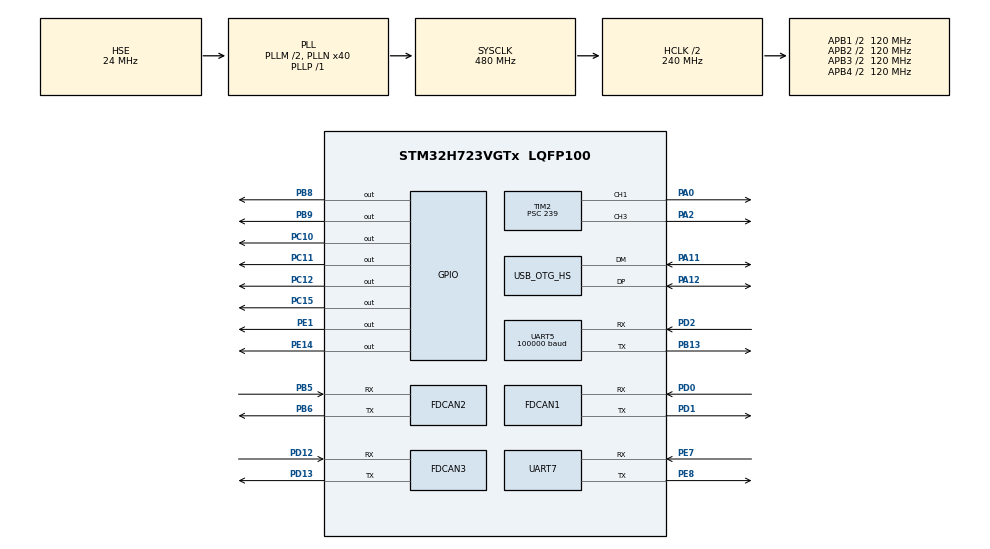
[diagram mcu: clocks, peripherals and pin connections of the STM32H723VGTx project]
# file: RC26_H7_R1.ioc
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CORTEX_M7.default_mode_Activation=1
Dma.Request0=UART5_RX
Dma.Request1=UART7_RX
Dma.UART5_RX.0.Direction=DMA_PERIPH_TO_MEMORY
Dma.UART5_RX.0.EventEnable=DISABLE
Dma.UART5_RX.0.FIFOMode=DMA_FIFOMODE_DISABLE
Dma.UART5_RX.0.Instance=DMA1_Stream2
Dma.UART5_RX.0.MemDataAlignment=DMA_MDATAALIGN_BYTE
Dma.UART5_RX.0.MemInc=DMA_MINC_ENABLE
Dma.UART5_RX.0.Mode=DMA_CIRCULAR
Dma.UART5_RX.0.PeriphDataAlignment=DMA_PDATAALIGN_BYTE
Dma.UART5_RX.0.PeriphInc=DMA_PINC_DISABLE
Dma.UART5_RX.0.Polarity=HAL_DMAMUX_REQ_GEN_RISING
Dma.UART5_RX.0.Priority=DMA_PRIORITY_VERY_HIGH
Dma.UART5_RX.0.RequestNumber=1
Dma.UART5_RX.0.SignalID=NONE
Dma.UART5_RX.0.SyncEnable=DISABLE
Dma.UART5_RX.0.SyncPolarity=HAL_DMAMUX_SYNC_NO_EVENT
Dma.UART5_RX.0.SyncRequestNumber=1
Dma.UART5_RX.0.SyncSignalID=NONE
Dma.UART7_RX.1.Direction=DMA_PERIPH_TO_MEMORY
Dma.UART7_RX.1.EventEnable=DISABLE
Dma.UART7_RX.1.FIFOMode=DMA_FIFOMODE_DISABLE
Dma.UART7_RX.1.Instance=DMA1_Stream3
Dma.UART7_RX.1.MemDataAlignment=DMA_MDATAALIGN_BYTE
Dma.UART7_RX.1.MemInc=DMA_MINC_ENABLE
Dma.UART7_RX.1.Mode=DMA_NORMAL
Dma.UART7_RX.1.PeriphDataAlignment=DMA_PDATAALIGN_BYTE
Dma.UART7_RX.1.PeriphInc=DMA_PINC_DISABLE
Dma.UART7_RX.1.Polarity=HAL_DMAMUX_REQ_GEN_RISING
Dma.UART7_RX.1.Priority=DMA_PRIORITY_LOW
Dma.UART7_RX.1.RequestNumber=1
Dma.UART7_RX.1.SignalID=NONE
Dma.UART7_RX.1.SyncEnable=DISABLE
Dma.UART7_RX.1.SyncPolarity=HAL_DMAMUX_SYNC_NO_EVENT
Dma.UART7_RX.1.SyncRequestNumber=1
Dma.UART7_RX.1.SyncSignalID=NONE
FDCAN1.AutoRetransmission=ENABLE
FDCAN1.CalculateBaudRateNominal=1000000
FDCAN1.CalculateTimeBitNominal=1000
FDCAN1.CalculateTimeQuantumNominal=25.0
FDCAN1.DataPrescaler=3
FDCAN1.DataSyncJumpWidth=10
FDCAN1.DataTimeSeg1=29
FDCAN1.DataTimeSeg2=10
FDCAN1.FrameFormat=FDCAN_FRAME_CLASSIC
FDCAN1.NominalPrescaler=3
FDCAN1.NominalSyncJumpWidth=10
FDCAN1.NominalTimeSeg1=29
FDCAN1.NominalTimeSeg2=10
FDCAN1.RxFifo0ElmtsNbr=16
FDCAN1.StdFiltersNbr=1
FDCAN1.TxBuffersNbr=0
FDCAN1.TxFifoQueueElmtsNbr=4
FDCAN2.AutoRetransmission=ENABLE
FDCAN2.CalculateBaudRateNominal=1000000
FDCAN2.CalculateTimeBitNominal=1000
FDCAN2.CalculateTimeQuantumNominal=25.0
FDCAN2.DataPrescaler=3
FDCAN2.DataSyncJumpWidth=10
FDCAN2.DataTimeSeg1=29
FDCAN2.DataTimeSeg2=10
FDCAN2.MessageRAMOffset=853
FDCAN2.NominalPrescaler=3
FDCAN2.NominalSyncJumpWidth=10
FDCAN2.NominalTimeSeg1=29
FDCAN2.NominalTimeSeg2=10
FDCAN2.RxFifo0ElmtsNbr=16
FDCAN2.StdFiltersNbr=1
FDCAN2.TxFifoQueueElmtsNbr=4
FDCAN3.AutoRetransmission=ENABLE
FDCAN3.CalculateBaudRateNominal=1000000
FDCAN3.CalculateTimeBitNominal=1000
FDCAN3.CalculateTimeQuantumNominal=25.0
FDCAN3.DataPrescaler=3
FDCAN3.DataSyncJumpWidth=10
FDCAN3.DataTimeSeg1=29
FDCAN3.DataTimeSeg2=10
FDCAN3.MessageRAMOffset=1706
FDCAN3.NominalPrescaler=3
FDCAN3.NominalSyncJumpWidth=10
FDCAN3.NominalTimeSeg1=29
FDCAN3.NominalTimeSeg2=10
FDCAN3.RxFifo0ElmtsNbr=16
FDCAN3.StdFiltersNbr=1
FDCAN3.TxFifoQueueElmtsNbr=4
FREERTOS.Tasks01=defaultTask,24,128,StartDefaultTask,Default,NULL,Dynamic,NULL,NULL;CanTask,48,128,Can_Task,As weak,NULL,Dynamic,NULL,NULL;MotionTask,40,128,Motion_Task,As weak,NULL,Dynamic,NULL,NULL
Mcu.Family=STM32H7
Mcu.Name=STM32H723VGTx
Mcu.Package=LQFP100
NVIC.DMA1_Stream2_IRQn=true\:5\:0\:false\:false\:true\:true\:false\:true\:true
NVIC.DMA1_Stream3_IRQn=true\:5\:0\:false\:false\:true\:true\:false\:true\:true
NVIC.FDCAN1_IT0_IRQn=true\:5\:0\:false\:false\:true\:true\:true\:true\:true
NVIC.FDCAN2_IT0_IRQn=true\:5\:0\:false\:false\:true\:true\:true\:true\:true
NVIC.FDCAN3_IT0_IRQn=true\:5\:0\:false\:false\:true\:true\:true\:true\:true
NVIC.OTG_HS_IRQn=true\:5\:0\:false\:false\:true\:true\:false\:true\:true
NVIC.PriorityGroup=NVIC_PRIORITYGROUP_4
NVIC.TIM4_IRQn=true\:5\:0\:false\:false\:true\:true\:true\:true\:true
NVIC.TIM8_UP_TIM13_IRQn=true\:15\:0\:false\:false\:true\:false\:false\:true\:true
NVIC.TimeBase=TIM8_UP_TIM13_IRQn
NVIC.TimeBaseIP=TIM8
NVIC.UART5_IRQn=true\:5\:0\:false\:false\:true\:true\:true\:true\:true
NVIC.UART7_IRQn=true\:5\:0\:false\:false\:true\:true\:true\:true\:true
PA0.Signal=S_TIM2_CH1_ETR
PA11.Mode=Device_Only_FS
PA11.Signal=USB_OTG_HS_DM
PA12.Mode=Device_Only_FS
PA12.Signal=USB_OTG_HS_DP
PA13(JTMS/SWDIO).Mode=Serial_Wire
PA13(JTMS/SWDIO).Signal=DEBUG_JTMS-SWDIO
PA14(JTCK/SWCLK).Mode=Serial_Wire
PA14(JTCK/SWCLK).Signal=DEBUG_JTCK-SWCLK
PA2.Signal=S_TIM2_CH3
PB13.Mode=Asynchronous
PB13.Signal=UART5_TX
PB5.Mode=FDCAN_Activate
PB5.Signal=FDCAN2_RX
PB6.Mode=FDCAN_Activate
PB6.Signal=FDCAN2_TX
PB8.GPIO_PuPd=GPIO_PULLDOWN
PB8.Signal=GPIO_Output
PB9.GPIO_PuPd=GPIO_PULLDOWN
PB9.Signal=GPIO_Output
PC10.GPIO_PuPd=GPIO_PULLDOWN
PC10.Signal=GPIO_Output
PC11.GPIO_PuPd=GPIO_PULLDOWN
PC11.Signal=GPIO_Output
PC12.GPIO_PuPd=GPIO_PULLDOWN
PC12.Signal=GPIO_Output
PC15-OSC32_OUT.GPIO_PuPd=GPIO_PULLUP
PC15-OSC32_OUT.PinState=GPIO_PIN_SET
PC15-OSC32_OUT.Signal=GPIO_Output
PD0.Mode=FDCAN_Activate
PD0.Signal=FDCAN1_RX
PD1.Mode=FDCAN_Activate
PD1.Signal=FDCAN1_TX
PD12.Mode=FDCAN_Activate
PD12.Signal=FDCAN3_RX
PD13.Mode=FDCAN_Activate
PD13.Signal=FDCAN3_TX
PD2.Mode=Asynchronous
PD2.Signal=UART5_RX
PE1.GPIO_PuPd=GPIO_PULLDOWN
PE1.Signal=GPIO_Output
PE14.GPIO_PuPd=GPIO_PULLDOWN
PE14.Signal=GPIO_Output
PE7.Mode=Asynchronous
PE7.Signal=UART7_RX
PE8.Mode=Asynchronous
PE8.Signal=UART7_TX
PH0-OSC_IN.Mode=HSE-External-Oscillator
PH0-OSC_IN.Signal=RCC_OSC_IN
PH1-OSC_OUT.Mode=HSE-External-Oscillator
PH1-OSC_OUT.Signal=RCC_OSC_OUT
ProjectManager.HeapSize=0x200
ProjectManager.StackSize=0x400
ProjectManager.TargetToolchain=MDK-ARM V5.32
RCC.ADCFreq_Value=48375000
RCC.APB1Freq_Value=120000000
RCC.APB2Freq_Value=120000000
RCC.APB3Freq_Value=120000000
RCC.APB4Freq_Value=120000000
RCC.CortexFreq_Value=480000000
RCC.D1PPRE=RCC_APB3_DIV2
RCC.D2PPRE1=RCC_APB1_DIV2
RCC.D2PPRE2=RCC_APB2_DIV2
RCC.D3PPRE=RCC_APB4_DIV2
RCC.DIVM1=2
RCC.DIVN1=40
RCC.DIVP1=1
RCC.DIVQ1=4
RCC.HCLKFreq_Value=240000000
RCC.HPRE=RCC_HCLK_DIV2
RCC.HSE_VALUE=24000000
RCC.PLL2FRACN=0
RCC.PLL3FRACN=0
RCC.PLLFRACN=0
RCC.PLLSourceVirtual=RCC_PLLSOURCE_HSE
RCC.SYSCLKFreq_VALUE=480000000
RCC.SYSCLKSource=RCC_SYSCLKSOURCE_PLLCLK
RCC.USBCLockSelection=RCC_USBCLKSOURCE_HSI48
RCC.USBFreq_Value=48000000
SH.S_TIM2_CH1_ETR.0=TIM2_CH1,PWM Generation1 CH1
SH.S_TIM2_CH3.0=TIM2_CH3,PWM Generation3 CH3
TIM2.AutoReloadPreload=TIM_AUTORELOAD_PRELOAD_ENABLE
TIM2.Channel-PWM\ Generation1\ CH1=TIM_CHANNEL_1
TIM2.Channel-PWM\ Generation3\ CH3=TIM_CHANNEL_3
TIM2.Period=19999
TIM2.Prescaler=239
TIM4.Period=19999
TIM4.Prescaler=239
UART5.BaudRate=100000
UART5.Parity=PARITY_EVEN
UART5.StopBits=UART_STOPBITS_2
UART5.WordLength=WORDLENGTH_9B
USB_DEVICE.CLASS_NAME_HS=CDC
USB_DEVICE.VirtualMode=Cdc
USB_DEVICE.VirtualModeHS=Cdc_HS
USB_OTG_HS.VirtualMode-Device_Only_FS=Device_Only_FS
VP_FREERTOS_VS_CMSIS_V2.Mode=CMSIS_V2
VP_MEMORYMAP_VS_MEMORYMAP.Mode=CurAppReg
VP_SYS_VS_tim8.Mode=TIM8
VP_TIM4_VS_ClockSourceINT.Mode=Internal
VP_USB_DEVICE_VS_USB_DEVICE_CDC_HS.Mode=CDC_HS
board=custom

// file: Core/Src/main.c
/* USER CODE BEGIN Header */
/**
  ******************************************************************************
  * @file           : main.c
  * @brief          : Main program body
  ******************************************************************************
  * @attention
  *
  * Copyright (c) 2026 STMicroelectronics.
  * All rights reserved.
  *
  * This software is licensed under terms that can be found in the LICENSE file
  * in the root directory of this software component.
  * If no LICENSE file comes with this software, it is provided AS-IS.
  *
  ******************************************************************************
  */
/* USER CODE END Header */
#include "main.h"
#include "cmsis_os.h"
#include "dma.h"
#include "fdcan.h"
#include "tim.h"
#include "usart.h"
#include "usb_device.h"
#include "gpio.h"

/* USER CODE BEGIN Includes */
#include "register.h"
#include "bsp_can.h"
#include "bsp_uart.h"
#include "usbd_cdc_if.h"
#include "lift.h"
#include "kfs.h"
#include "weapon.h"
/* USER CODE END Includes */

void SystemClock_Config(void);
static void MPU_Config(void);
void MX_FREERTOS_Init(void);

int main(void)
{

  /* MPU Configuration--------------------------------------------------------*/
  MPU_Config();

  /* MCU Configuration--------------------------------------------------------*/

  /* Reset of all peripherals, Initializes the Flash interface and the Systick. */
  HAL_Init();

  /* Configure the system clock */
  SystemClock_Config();

  /* Initialize all configured peripherals */
  MX_GPIO_Init();
  MX_DMA_Init();
  MX_TIM2_Init();
  MX_TIM4_Init();
  MX_UART5_Init();
  MX_UART7_Init();
  MX_FDCAN1_Init();
  MX_FDCAN2_Init();
  MX_FDCAN3_Init();
  /* USER CODE BEGIN 2 */
  BSP_CAN_Init();
  BSP_USART_Init();
	HAL_TIM_Base_Start(&htim2);
  HAL_TIM_PWM_Start(&htim2,TIM_CHANNEL_1 );
  HAL_TIM_PWM_Start(&htim2,TIM_CHANNEL_3 );
	HAL_TIM_Base_Start(&htim4);
	HAL_TIM_Base_Start_IT(&htim4);
  HAL_Delay(1500);
  weapon_init();
  Structue_Init();
  lift_init();
  kfs_three_kfs_spin_main_lift_pos_init();
  /* USER CODE END 2 */

  /* Init scheduler */
  osKernelInitialize();  /* Call init function for freertos objects (in cmsis_os2.c) */
  MX_FREERTOS_Init();

  /* Start scheduler */
  osKernelStart();

  /* We should never get here as control is now taken by the scheduler */

  /* Infinite loop */
  while (1)
  {

  }
}

void SystemClock_Config(void)
{
  RCC_OscInitTypeDef RCC_OscInitStruct = {0};
  RCC_ClkInitTypeDef RCC_ClkInitStruct = {0};

  /** Supply configuration update enable
  */
  HAL_PWREx_ConfigSupply(PWR_LDO_SUPPLY);

  /** Configure the main internal regulator output voltage
  */
  __HAL_PWR_VOLTAGESCALING_CONFIG(PWR_REGULATOR_VOLTAGE_SCALE0);

  while(!__HAL_PWR_GET_FLAG(PWR_FLAG_VOSRDY)) {}

  /** Initializes the RCC Oscillators according to the specified parameters
  * in the RCC_OscInitTypeDef structure.
  */
  RCC_OscInitStruct.OscillatorType = RCC_OSCILLATORTYPE_HSE;
  RCC_OscInitStruct.HSEState = RCC_HSE_ON;
  RCC_OscInitStruct.PLL.PLLState = RCC_PLL_ON;
  RCC_OscInitStruct.PLL.PLLSource = RCC_PLLSOURCE_HSE;
  RCC_OscInitStruct.PLL.PLLM = 2;
  RCC_OscInitStruct.PLL.PLLN = 40;
  RCC_OscInitStruct.PLL.PLLP = 1;
  RCC_OscInitStruct.PLL.PLLQ = 4;
  RCC_OscInitStruct.PLL.PLLR = 2;
  RCC_OscInitStruct.PLL.PLLRGE = RCC_PLL1VCIRANGE_3;
  RCC_OscInitStruct.PLL.PLLVCOSEL = RCC_PLL1VCOWIDE;
  RCC_OscInitStruct.PLL.PLLFRACN = 0;
  if (HAL_RCC_OscConfig(&RCC_OscInitStruct) != HAL_OK)
  {
    Error_Handler();
  }

  /** Initializes the CPU, AHB and APB buses clocks
  */
  RCC_ClkInitStruct.ClockType = RCC_CLOCKTYPE_HCLK|RCC_CLOCKTYPE_SYSCLK
                              |RCC_CLOCKTYPE_PCLK1|RCC_CLOCKTYPE_PCLK2
                              |RCC_CLOCKTYPE_D3PCLK1|RCC_CLOCKTYPE_D1PCLK1;
  RCC_ClkInitStruct.SYSCLKSource = RCC_SYSCLKSOURCE_PLLCLK;
  RCC_ClkInitStruct.SYSCLKDivider = RCC_SYSCLK_DIV1;
  RCC_ClkInitStruct.AHBCLKDivider = RCC_HCLK_DIV2;
  RCC_ClkInitStruct.APB3CLKDivider = RCC_APB3_DIV2;
  RCC_ClkInitStruct.APB1CLKDivider = RCC_APB1_DIV2;
  RCC_ClkInitStruct.APB2CLKDivider = RCC_APB2_DIV2;
  RCC_ClkInitStruct.APB4CLKDivider = RCC_APB4_DIV2;

  if (HAL_RCC_ClockConfig(&RCC_ClkInitStruct, FLASH_LATENCY_3) != HAL_OK)
  {
    Error_Handler();
  }
}

 /* MPU Configuration */

void MPU_Config(void)
{
  MPU_Region_InitTypeDef MPU_InitStruct = {0};

  /* Disables the MPU */
  HAL_MPU_Disable();

  /** Initializes and configures the Region and the memory to be protected
  */
  MPU_InitStruct.Enable = MPU_REGION_ENABLE;
  MPU_InitStruct.Number = MPU_REGION_NUMBER0;
  MPU_InitStruct.BaseAddress = 0x0;
  MPU_InitStruct.Size = MPU_REGION_SIZE_4GB;
  MPU_InitStruct.SubRegionDisable = 0x87;
  MPU_InitStruct.TypeExtField = MPU_TEX_LEVEL0;
  MPU_InitStruct.AccessPermission = MPU_REGION_NO_ACCESS;
  MPU_InitStruct.DisableExec = MPU_INSTRUCTION_ACCESS_DISABLE;
  MPU_InitStruct.IsShareable = MPU_ACCESS_SHAREABLE;
  MPU_InitStruct.IsCacheable = MPU_ACCESS_NOT_CACHEABLE;
  MPU_InitStruct.IsBufferable = MPU_ACCESS_NOT_BUFFERABLE;

  HAL_MPU_ConfigRegion(&MPU_InitStruct);
  /* Enables the MPU */
  HAL_MPU_Enable(MPU_PRIVILEGED_DEFAULT);

}

void HAL_TIM_PeriodElapsedCallback(TIM_HandleTypeDef *htim)
{
  if (htim->Instance == TIM8)
  {
    HAL_IncTick();
  }
}

void Error_Handler(void)
{
  __disable_irq();
  while (1)
  {
  }
}

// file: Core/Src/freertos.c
/* USER CODE BEGIN Header */
/**
  ******************************************************************************
  * File Name          : freertos.c
  * Description        : Code for freertos applications
  ******************************************************************************
  * @attention
  *
  * Copyright (c) 2026 STMicroelectronics.
  * All rights reserved.
  *
  * This software is licensed under terms that can be found in the LICENSE file
  * in the root directory of this software component.
  * If no LICENSE file comes with this software, it is provided AS-IS.
  *
  ******************************************************************************
  */
/* USER CODE END Header */

#include "FreeRTOS.h"
#include "task.h"
#include "main.h"
#include "cmsis_os.h"

/* Definitions for defaultTask */
osThreadId_t defaultTaskHandle;
const osThreadAttr_t defaultTask_attributes = {
  .name = "defaultTask",
  .stack_size = 128 * 4,
  .priority = (osPriority_t) osPriorityNormal,
};
/* Definitions for CanTask */
osThreadId_t CanTaskHandle;
const osThreadAttr_t CanTask_attributes = {
  .name = "CanTask",
  .stack_size = 128 * 4,
  .priority = (osPriority_t) osPriorityRealtime,
};
/* Definitions for MotionTask */
osThreadId_t MotionTaskHandle;
const osThreadAttr_t MotionTask_attributes = {
  .name = "MotionTask",
  .stack_size = 128 * 4,
  .priority = (osPriority_t) osPriorityHigh,
};

void StartDefaultTask(void *argument);
void Can_Task(void *argument);
void Motion_Task(void *argument);

extern void MX_USB_DEVICE_Init(void);
void MX_FREERTOS_Init(void); /* (MISRA C 2004 rule 8.1) */

void MX_FREERTOS_Init(void) {

  /* Create the thread(s) */
  /* creation of defaultTask */
  defaultTaskHandle = osThreadNew(StartDefaultTask, NULL, &defaultTask_attributes);

  /* creation of CanTask */
  CanTaskHandle = osThreadNew(Can_Task, NULL, &CanTask_attributes);

  /* creation of MotionTask */
  MotionTaskHandle = osThreadNew(Motion_Task, NULL, &MotionTask_attributes);

}

void StartDefaultTask(void *argument)
{
  /* init code for USB_DEVICE */
//  MX_USB_DEVICE_Init();
  for(;;)
  {
    osDelay(1);
  }
}

__weak void Can_Task(void *argument)
{
  for(;;)
  {
    osDelay(1);
  }
}

__weak void Motion_Task(void *argument)
{
  for(;;)
  {
    osDelay(1);
  }
}
